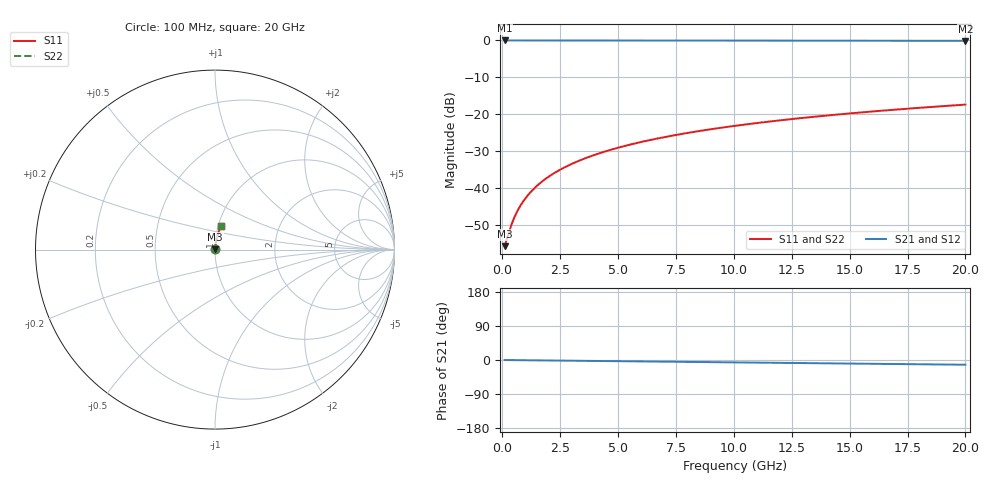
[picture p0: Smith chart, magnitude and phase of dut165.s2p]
! Touchstone file exported from HFSS 2026.1.0
!  File:  C:/ffzhzh/LocalFiles/Ansys_Project_Files/temp_train_TSV_165_1782990927_40604.aedt
!  Generated:  07:17:42 PM Jul  2, 2026
!  Design:  TSV
!  Project:  temp_train_TSV_165_1782990927_40604
! Variables:
!  h_bsmrdl = 2um
!  h_ox = 20um
!  h_rdl = 5um
!  h_sub = 98.78um
!  h_tmrdl = 5um
!  h_tsv = 98.78um
!  h_via = 3um
!  l_bsmrdl = 300um
!  l_sub = 405.58um
!  l_tmrdl = 200um
!  m_sub = 200um
!  pitch = 41um
!  r_tsv = 2.79um
!  s_tmrdl = 10um
!  w_bsmrdl = 18um
!  w_sub = 500um
!  w_tmrdl = 12um
!  x_tsv_center1 = 206um
!  x_tsv_center2 = 524um
!  x_tsv_center3 = 736um
!  x_tsv_center4 = 1054um
!  x_tsv_center5 = 1266um
!  x_tsv_center6 = 1584um
# GHz S MA R 50.000000
! Terminal data exported
! Port[1] = TSV1_1_T1
! Port[2] = TSV1_1_T2
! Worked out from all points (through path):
!   200 points, 100 MHz to 20 GHz, reference 50 ohm
!   highest |S21| = -0.01 dB at 100 MHz (marker M1); lowest = -0.1 dB at 20 GHz (marker M2)
!   group delay of S21, straight-line fit = 1.73 ps
!   lowest |S11| = -55.8 dB at 100 MHz (marker M3), VSWR 1.00, Z = 50.1 + j0.0718 ohm
!   |S11| at or under -10 dB: start of sweep to end of sweep
!   |S22| runs from -55.8 to -17.4 dB; largest |S21 - S12| = 3.3e-15
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0.1  0.001628 26.1  0.9985 -0.1  0.9985 -0.1  0.001628 26.1
! Gamma 0 0 0 0
! Port Impedance 50 0 50 0
0.3  0.002603 55.3  0.9985 -0.2  0.9985 -0.2  0.002603 55.3
0.4  0.003217 62.3  0.9985 -0.3  0.9985 -0.3  0.003217 62.3
0.5  0.003861 66.9  0.9985 -0.3  0.9985 -0.3  0.003861 66.9
0.6  0.004523 70.2  0.9985 -0.4  0.9985 -0.4  0.004523 70.2
0.7  0.005196 72.7  0.9985 -0.4  0.9985 -0.4  0.005196 72.7
0.9  0.006561 76.0  0.9985 -0.6  0.9985 -0.6  0.006561 76.0
1.2  0.008635 79.0  0.9984 -0.8  0.9984 -0.8  0.008635 79.0
1.4  0.01003 80.2  0.9984 -0.9  0.9984 -0.9  0.01003 80.2
1.7  0.01212 81.4  0.9983 -1.1  0.9983 -1.1  0.01212 81.4
2.2  0.01562 82.6  0.9983 -1.4  0.9983 -1.4  0.01562 82.6
2.8  0.01982 83.3  0.9981 -1.8  0.9981 -1.8  0.01982 83.3
3.5  0.02472 83.6  0.9979 -2.2  0.9979 -2.2  0.02472 83.6
4.2  0.02959 83.7  0.9977 -2.7  0.9977 -2.7  0.02959 83.7
5  0.03515 83.5  0.9974 -3.2  0.9974 -3.2  0.03515 83.5
5.9  0.04136 83.2  0.997 -3.8  0.997 -3.8  0.04136 83.2
6.8  0.04754 82.8  0.9965 -4.3  0.9965 -4.3  0.04754 82.8
8.3  0.05777 82.1  0.9957 -5.3  0.9957 -5.3  0.05777 82.1
10.1  0.06992 81.2  0.9946 -6.4  0.9946 -6.4  0.06992 81.2
13.4  0.0919 79.4  0.9923 -8.4  0.9923 -8.4  0.0919 79.4
16.7  0.1135 77.5  0.9896 -10.5  0.9896 -10.5  0.1135 77.5
20  0.1349 75.7  0.9865 -12.5  0.9865 -12.5  0.1349 75.7
